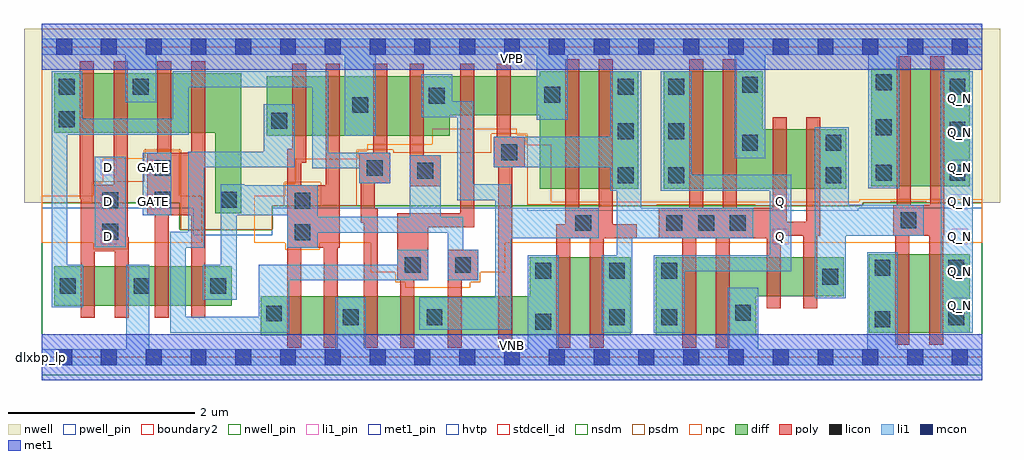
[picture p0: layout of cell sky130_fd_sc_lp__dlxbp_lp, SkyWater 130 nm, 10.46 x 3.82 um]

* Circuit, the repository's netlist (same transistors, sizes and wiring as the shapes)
* Copyright 2020 The SkyWater PDK Authors
*
* Licensed under the Apache License, Version 2.0 (the "License");
* you may not use this file except in compliance with the License.
* You may obtain a copy of the License at
*
*     https://www.apache.org/licenses/LICENSE-2.0
*
* Unless required by applicable law or agreed to in writing, software
* distributed under the License is distributed on an "AS IS" BASIS,
* WITHOUT WARRANTIES OR CONDITIONS OF ANY KIND, either express or implied.
* See the License for the specific language governing permissions and
* limitations under the License.
*
* SPDX-License-Identifier: Apache-2.0

.SUBCKT sky130_fd_sc_lp__dlxbp_lp D GATE VGND VNB VPB VPWR Q Q_N
*.PININFO D:I GATE:I VGND:I VNB:I VPB:I VPWR:I Q:O Q_N:O
MI635 clkpos clkneg net066 VPB sky130_fd_pr__pfet_01v8_hvt m=1 w=0.64U l=0.15U mult=1
+ sa=0.265 sb=0.265 sd=0.28 area=0.063 perim=1.14
MI648 Q_N net79 net042 VPB sky130_fd_pr__pfet_01v8_hvt m=1 w=1.26U l=0.15U mult=1
+ sa=0.265 sb=0.265 sd=0.28 area=0.063 perim=1.14
MI17 M0 clkneg net51 VPB sky130_fd_pr__pfet_01v8_hvt m=1 w=0.64U l=0.15U mult=1
+ sa=0.265 sb=0.265 sd=0.28 area=0.063 perim=1.14
MI29 net053 m1 VPWR VPB sky130_fd_pr__pfet_01v8_hvt m=1 w=1.26U l=0.15U mult=1
+ sa=0.265 sb=0.265 sd=0.28 area=0.063 perim=1.14
MI646 net79 m1 net046 VPB sky130_fd_pr__pfet_01v8_hvt m=1 w=0.64U l=0.15U mult=1
+ sa=0.265 sb=0.265 sd=0.28 area=0.063 perim=1.14
MI650 Q m1 net053 VPB sky130_fd_pr__pfet_01v8_hvt m=1 w=1.26U l=0.15U mult=1 sa=0.265
+ sb=0.265 sd=0.28 area=0.063 perim=1.14
MI633 clkneg GATE net070 VPB sky130_fd_pr__pfet_01v8_hvt m=1 w=0.64U l=0.15U mult=1
+ sa=0.265 sb=0.265 sd=0.28 area=0.063 perim=1.14
MI32 net042 net79 VPWR VPB sky130_fd_pr__pfet_01v8_hvt m=1 w=1.26U l=0.15U mult=1
+ sa=0.265 sb=0.265 sd=0.28 area=0.063 perim=1.14
MI18 net51 db VPWR VPB sky130_fd_pr__pfet_01v8_hvt m=1 w=0.64U l=0.15U mult=1 sa=0.265
+ sb=0.265 sd=0.28 area=0.063 perim=1.14
MI653 net59 m1 VPWR VPB sky130_fd_pr__pfet_01v8_hvt m=1 w=0.42U l=0.15U mult=1
+ sa=0.265 sb=0.265 sd=0.28 area=0.063 perim=1.14
MI651 M0 clkpos net59 VPB sky130_fd_pr__pfet_01v8_hvt m=1 w=0.42U l=0.15U mult=1
+ sa=0.265 sb=0.265 sd=0.28 area=0.063 perim=1.14
MI655 m1 M0 net077 VPB sky130_fd_pr__pfet_01v8_hvt m=1 w=1.26U l=0.15U mult=1 sa=0.265
+ sb=0.265 sd=0.28 area=0.063 perim=1.14
MI638 db D net062 VPB sky130_fd_pr__pfet_01v8_hvt m=1 w=0.64U l=0.15U mult=1 sa=0.265
+ sb=0.265 sd=0.28 area=0.063 perim=1.14
MI31 net046 m1 VPWR VPB sky130_fd_pr__pfet_01v8_hvt m=1 w=0.64U l=0.15U mult=1
+ sa=0.265 sb=0.265 sd=0.28 area=0.063 perim=1.14
MI27 net077 M0 VPWR VPB sky130_fd_pr__pfet_01v8_hvt m=1 w=1.26U l=0.15U mult=1
+ sa=0.265 sb=0.265 sd=0.28 area=0.063 perim=1.14
MI25 net062 D VPWR VPB sky130_fd_pr__pfet_01v8_hvt m=1 w=0.64U l=0.15U mult=1 sa=0.265
+ sb=0.265 sd=0.28 area=0.063 perim=1.14
MI22 net066 clkneg VPWR VPB sky130_fd_pr__pfet_01v8_hvt m=1 w=0.64U l=0.15U mult=1
+ sa=0.265 sb=0.265 sd=0.28 area=0.063 perim=1.14
MI21 net070 GATE VPWR VPB sky130_fd_pr__pfet_01v8_hvt m=1 w=0.64U l=0.15U mult=1
+ sa=0.265 sb=0.265 sd=0.28 area=0.063 perim=1.14
MI634 clkneg GATE net0181 VNB sky130_fd_pr__nfet_01v8 m=1 w=0.42U l=0.15U mult=1
+ sa=0.265 sb=0.265 sd=0.28 area=0.063 perim=1.14
MI647 Q_N net79 net0177 VNB sky130_fd_pr__nfet_01v8 m=1 w=0.84U l=0.15U mult=1
+ sa=0.265 sb=0.265 sd=0.28 area=0.063 perim=1.14
MI649 Q m1 net0125 VNB sky130_fd_pr__nfet_01v8 m=1 w=0.84U l=0.15U mult=1 sa=0.265
+ sb=0.265 sd=0.28 area=0.063 perim=1.14
MI30 net0125 m1 VGND VNB sky130_fd_pr__nfet_01v8 m=1 w=0.84U l=0.15U mult=1 sa=0.265
+ sb=0.265 sd=0.28 area=0.063 perim=1.14
MI645 net79 m1 net0173 VNB sky130_fd_pr__nfet_01v8 m=1 w=0.42U l=0.15U mult=1 sa=0.265
+ sb=0.265 sd=0.28 area=0.063 perim=1.14
MI28 net0161 M0 VGND VNB sky130_fd_pr__nfet_01v8 m=1 w=0.84U l=0.15U mult=1 sa=0.265
+ sb=0.265 sd=0.28 area=0.063 perim=1.14
MI652 M0 clkneg net102 VNB sky130_fd_pr__nfet_01v8 m=1 w=0.42U l=0.15U mult=1 sa=0.265
+ sb=0.265 sd=0.28 area=0.063 perim=1.14
MI654 net102 m1 VGND VNB sky130_fd_pr__nfet_01v8 m=1 w=0.42U l=0.15U mult=1 sa=0.265
+ sb=0.265 sd=0.28 area=0.063 perim=1.14
MI656 m1 M0 net0161 VNB sky130_fd_pr__nfet_01v8 m=1 w=0.84U l=0.15U mult=1 sa=0.265
+ sb=0.265 sd=0.28 area=0.063 perim=1.14
MI26 net0153 D VGND VNB sky130_fd_pr__nfet_01v8 m=1 w=0.42U l=0.15U mult=1 sa=0.265
+ sb=0.265 sd=0.28 area=0.063 perim=1.14
MI636 clkpos clkneg net0157 VNB sky130_fd_pr__nfet_01v8 m=1 w=0.42U l=0.15U mult=1
+ sa=0.265 sb=0.265 sd=0.28 area=0.063 perim=1.14
MI637 db D net0153 VNB sky130_fd_pr__nfet_01v8 m=1 w=0.42U l=0.15U mult=1 sa=0.265
+ sb=0.265 sd=0.28 area=0.063 perim=1.14
MI19 M0 clkpos net98 VNB sky130_fd_pr__nfet_01v8 m=1 w=0.42U l=0.15U mult=1 sa=0.265
+ sb=0.265 sd=0.28 area=0.063 perim=1.14
MI20 net98 db VGND VNB sky130_fd_pr__nfet_01v8 m=1 w=0.42U l=0.15U mult=1 sa=0.265
+ sb=0.265 sd=0.28 area=0.063 perim=1.14
MI34 net0177 net79 VGND VNB sky130_fd_pr__nfet_01v8 m=1 w=0.84U l=0.15U mult=1
+ sa=0.265 sb=0.265 sd=0.28 area=0.063 perim=1.14
MI33 net0173 m1 VGND VNB sky130_fd_pr__nfet_01v8 m=1 w=0.42U l=0.15U mult=1 sa=0.265
+ sb=0.265 sd=0.28 area=0.063 perim=1.14
MI24 net0157 clkneg VGND VNB sky130_fd_pr__nfet_01v8 m=1 w=0.42U l=0.15U mult=1
+ sa=0.265 sb=0.265 sd=0.28 area=0.063 perim=1.14
MI23 net0181 GATE VGND VNB sky130_fd_pr__nfet_01v8 m=1 w=0.42U l=0.15U mult=1 sa=0.265
+ sb=0.265 sd=0.28 area=0.063 perim=1.14
.ENDS sky130_fd_sc_lp__dlxbp_lp

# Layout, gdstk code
import gdstk
lib = gdstk.Library(unit=1e-6, precision=1e-09)
def R(c, l, rs):  # rectangles x0, y0, x1, y1
    for r in rs: c.add(gdstk.rectangle(r[:2], r[2:], *l))
def A(c, l, x, y, w, h, nx, ny, dx, dy):  # array of equal rectangles
    R(c, l, [(x+i*dx, y+j*dy, x+i*dx+w, y+j*dy+h) for i in range(nx) for j in range(ny)])
def P(c, l, *ps):  # polygons
    for p in ps: c.add(gdstk.Polygon(p, *l))
nwell_pin = (64, 16)
nwell = (64, 20)
diff = (65, 20)
poly = (66, 20)
licon = (66, 44)
li1_pin = (67, 16)
li1 = (67, 20)
mcon = (67, 44)
met1_pin = (68, 16)
met1 = (68, 20)
hvtp = (78, 44)
stdcell_id = (81, 4)
nsdm = (93, 44)
psdm = (94, 20)
npc = (95, 20)
pwell_pin = (122, 16)
boundary2 = (236, 0)

sky130_fd_sc_lp__dlxbp_l = lib.new_cell('sky130_fd_sc_lp__dlxbp_lp')
R(sky130_fd_sc_lp__dlxbp_l, nwell_pin, [(0,3.085,10.08,3.33)])
P(sky130_fd_sc_lp__dlxbp_l, nwell, [(10.27,3.52),(-0.19,3.52),(-0.19,1.655),(1.48,1.655),(1.48,1.365),(2.47,1.365),(2.47,1.625),(8.8,1.625),(8.8,1.655),(10.27,1.655)])
R(sky130_fd_sc_lp__dlxbp_l, diff, [(8.865,0.265,9.945,1.105), (0.135,0.555,2.035,0.975), (8.89,1.835,9.945,3.095)])
P(sky130_fd_sc_lp__dlxbp_l, diff, [(2.14,3.045),(0.135,3.045),(0.135,2.405),(1.86,2.405),(1.86,1.545),(2.14,1.545)],
  [(6.31,1.075),(5.23,1.075),(5.23,0.655),(2.345,0.655),(2.345,0.235),(6.31,0.235)],
  [(6.395,3.065),(5.335,3.065),(5.335,3.015),(2.41,3.015),(2.41,2.375),(4.375,2.375),(4.375,2.595),(5.335,2.595),(5.335,1.805),(6.395,1.805)],
  [(8.595,1.075),(6.58,1.075),(6.58,0.235),(7.66,0.235),(7.66,0.655),(8.595,0.655)],
  [(8.62,2.445),(7.725,2.445),(7.725,3.065),(6.665,3.065),(6.665,1.805),(8.62,1.805)])
P(sky130_fd_sc_lp__dlxbp_l, poly, [(0.93,1.285),(0.92,1.285),(0.92,3.175),(0.77,3.175),(0.77,1.85),(0.56,1.85),(0.56,3.175),(0.41,3.175),(0.41,1.7),(0.42,1.7),(0.42,0.425),(0.57,0.425),(0.57,1.135),(0.78,1.135),(0.78,0.425),(0.93,0.425)],
  [(1.75,3.175),(1.6,3.175),(1.6,2.195),(1.39,2.195),(1.39,3.175),(1.24,3.175),(1.24,2.195),(1.13,2.195),(1.13,1.525),(1.21,1.525),(1.21,0.425),(1.36,0.425),(1.36,1.525),(1.6,1.525),(1.6,0.425),(1.75,0.425)],
  [(3.195,3.145),(3.045,3.145),(3.045,1.845),(2.78,1.845),(2.78,2.085),(2.835,2.085),(2.835,3.145),(2.685,3.145),(2.685,2.235),(2.63,2.235),(2.63,0.105),(2.78,0.105),(2.78,1.175),(3.02,1.175),(3.02,0.105),(3.17,0.105),(3.17,1.175),(3.195,1.175)],
  [(3.735,2.195),(3.705,2.195),(3.705,3.145),(3.555,3.145),(3.555,2.195),(3.405,2.195),(3.405,1.865),(3.42,1.865),(3.42,1.445),(3.45,1.445),(3.45,0.105),(3.6,0.105),(3.6,1.595),(3.57,1.595),(3.57,1.865),(3.735,1.865)],
  [(4.275,2.165),(4.095,2.165),(4.095,3.145),(3.945,3.145),(3.945,1.835),(4.275,1.835)],
  [(4.635,3.145),(4.485,3.145),(4.485,1.545),(3.81,1.545),(3.81,0.825),(3.84,0.825),(3.84,0.105),(3.99,0.105),(3.99,0.825),(4.14,0.825),(4.14,1.395),(4.635,1.395)],
  [(4.68,1.155),(4.35,1.155),(4.35,0.105),(4.5,0.105),(4.5,0.825),(4.68,0.825)],
  [(5.175,2.365),(5.025,2.365),(5.025,3.145),(4.875,3.145),(4.875,2.365),(4.845,2.365),(4.845,2.035),(4.89,2.035),(4.89,0.105),(5.04,0.105),(5.04,2.035),(5.175,2.035)],
  [(6.375,1.425),(6.12,1.425),(6.12,3.195),(5.97,3.195),(5.97,1.605),(5.76,1.605),(5.76,3.195),(5.61,3.195),(5.61,1.425),(5.515,1.425),(5.515,0.105),(5.665,0.105),(5.665,1.275),(5.875,1.275),(5.875,0.105),(6.025,0.105),(6.025,1.275),(6.375,1.275)],
  [(8.345,2.575),(8.195,2.575),(8.195,1.455),(7.985,1.455),(7.985,2.575),(7.835,2.575),(7.835,1.605),(7.45,1.605),(7.45,3.195),(7.3,3.195),(7.3,1.605),(7.09,1.605),(7.09,3.195),(6.94,3.195),(6.94,1.605),(6.615,1.605),(6.615,1.275),(6.865,1.275),(6.865,0.105),(7.015,0.105),(7.015,1.275),(7.225,1.275),(7.225,0.105),(7.375,0.105),(7.375,1.275),(7.77,1.275),(7.77,0.525),(7.92,0.525),(7.92,1.305),(8.16,1.305),(8.16,0.525),(8.31,0.525),(8.31,1.305),(8.345,1.305)],
  [(9.675,3.225),(9.525,3.225),(9.525,1.635),(9.315,1.635),(9.315,3.225),(9.165,3.225),(9.165,1.635),(9.125,1.635),(9.125,1.305),(9.15,1.305),(9.15,0.135),(9.3,0.135),(9.3,1.305),(9.51,1.305),(9.51,0.135),(9.66,0.135),(9.66,1.305),(9.675,1.305)])
A(sky130_fd_sc_lp__dlxbp_l, licon, 6.695, 1.355, 0.17, 0.17, 3, 1, 0.34, 0)
A(sky130_fd_sc_lp__dlxbp_l, licon, 6.175, 1.865, 0.17, 0.17, 1, 3, 0, 0.475)
A(sky130_fd_sc_lp__dlxbp_l, licon, 6.715, 1.865, 0.17, 0.17, 1, 3, 0, 0.475)
A(sky130_fd_sc_lp__dlxbp_l, licon, 8.94, 1.895, 0.17, 0.17, 1, 3, 0, 0.485)
A(sky130_fd_sc_lp__dlxbp_l, licon, 9.73, 1.895, 0.17, 0.17, 1, 3, 0, 0.46)
R(sky130_fd_sc_lp__dlxbp_l, licon, [(5.29,0.295,5.46,0.465), (8.925,0.325,9.095,0.495), (3.225,0.345,3.395,0.515), (4.125,0.345,4.295,0.515), (6.08,0.345,6.25,0.515), (6.64,0.345,6.81,0.515), (9.715,0.345,9.885,0.515), (2.405,0.385,2.575,0.555), (7.43,0.395,7.6,0.565), (0.195,0.68,0.365,0.85), (0.985,0.68,1.155,0.85), (1.805,0.68,1.975,0.85), (8.365,0.78,8.535,0.95), (5.29,0.845,5.46,1.015), (6.08,0.845,6.25,1.015), (6.64,0.845,6.81,1.015), (8.925,0.875,9.095,1.045), (9.715,0.875,9.885,1.045), (3.89,0.905,4.06,1.075), (4.43,0.905,4.6,1.075), (2.71,1.255,2.88,1.425), (0.65,1.26,0.82,1.43), (5.72,1.355,5.89,1.525), (9.205,1.385,9.375,1.555), (2.71,1.595,2.88,1.765), (0.65,1.6,0.82,1.77), (1.21,1.605,1.38,1.775), (1.92,1.605,2.09,1.775), (8.4,1.865,8.57,2.035), (4.025,1.915,4.195,2.085), (1.21,1.945,1.38,2.115), (3.485,1.945,3.655,2.115), (4.925,2.115,5.095,2.285), (7.505,2.215,7.675,2.385), (8.4,2.215,8.57,2.385), (2.46,2.45,2.63,2.62), (0.185,2.465,0.355,2.635), (3.33,2.62,3.5,2.79), (4.15,2.72,4.32,2.89), (5.385,2.73,5.555,2.9), (0.185,2.815,0.355,2.985), (0.975,2.815,1.145,2.985), (7.505,2.835,7.675,3.005)])
A(sky130_fd_sc_lp__dlxbp_l, li1_pin, 9.755, 0.47, 0.17, 0.17, 1, 7, 0, 0.37)
A(sky130_fd_sc_lp__dlxbp_l, li1_pin, 0.635, 1.21, 0.17, 0.17, 1, 3, 0, 0.37)
R(sky130_fd_sc_lp__dlxbp_l, li1_pin, [(7.835,1.21,8.005,1.38), (1.115,1.58,1.285,1.75), (7.835,1.58,8.005,1.75), (1.115,1.95,1.285,2.12)])
R(sky130_fd_sc_lp__dlxbp_l, li1, [(9.635,0.265,9.98,3.065), (0.57,1.18,0.9,2.15), (1.085,1.525,1.39,2.195)])
P(sky130_fd_sc_lp__dlxbp_l, li1, [(3.735,2.195),(3.07,2.195),(3.07,3.065),(1.405,3.065),(1.405,2.555),(0.435,2.555),(0.435,3.065),(0.105,3.065),(0.105,0.535),(0.445,0.535),(0.445,0.995),(0.275,0.995),(0.275,2.385),(1.575,2.385),(1.575,2.895),(2.9,2.895),(2.9,2.025),(3.405,2.025),(3.405,1.865),(3.735,1.865)],
  [(4.14,1.155),(3.81,1.155),(3.81,0.995),(2.325,0.995),(2.325,0.435),(1.545,0.435),(1.545,1.175),(1.74,1.175),(1.74,2.035),(2.71,2.035),(2.71,2.715),(2.38,2.715),(2.38,2.205),(1.57,2.205),(1.57,1.345),(1.375,1.345),(1.375,0.265),(2.655,0.265),(2.655,0.825),(4.14,0.825)],
  [(4.68,1.155),(4.52,1.155),(4.52,1.505),(4.275,1.505),(4.275,2.165),(3.945,2.165),(3.945,1.505),(2.96,1.505),(2.96,1.845),(2.17,1.845),(2.17,1.855),(1.92,1.855),(1.92,0.995),(1.725,0.995),(1.725,0.615),(2.09,0.615),(2.09,1.525),(2.63,1.525),(2.63,1.175),(2.96,1.175),(2.96,1.335),(4.35,1.335),(4.35,0.825),(4.68,0.825)],
  [(5.97,1.605),(5.03,1.605),(5.03,1.855),(4.625,1.855),(4.625,2.745),(4.4,2.745),(4.4,3.035),(4.07,3.035),(4.07,2.575),(4.455,2.575),(4.455,1.685),(4.86,1.685),(4.86,0.645),(4.045,0.645),(4.045,0.295),(5.03,0.295),(5.03,1.275),(5.97,1.275)],
  [(7.625,1.605),(6.425,1.605),(6.425,3.065),(6.095,3.065),(6.095,2.365),(4.845,2.365),(4.845,2.035),(6.095,2.035),(6.095,1.785),(6.16,1.785),(6.16,1.095),(6,1.095),(6,0.265),(6.33,0.265),(6.33,1.275),(7.625,1.275)],
  [(8.035,1.955),(6.965,1.955),(6.965,3.065),(6.635,3.065),(6.635,1.785),(7.805,1.785),(7.805,1.095),(6.56,1.095),(6.56,0.265),(6.89,0.265),(6.89,0.925),(8.035,0.925)],
  [(9.455,1.635),(8.65,1.635),(8.65,2.465),(8.285,2.465),(8.285,0.635),(8.615,0.635),(8.615,1.305),(9.455,1.305)],
  [(10.08,3.415),(0,3.415),(0,3.245),(0.895,3.245),(0.895,2.735),(1.225,2.735),(1.225,3.245),(3.25,3.245),(3.25,2.375),(3.58,2.375),(3.58,3.245),(5.305,3.245),(5.305,2.545),(5.635,2.545),(5.635,3.245),(7.425,3.245),(7.425,2.135),(7.755,2.135),(7.755,3.245),(8.86,3.245),(8.86,1.815),(9.19,1.815),(9.19,3.245),(10.08,3.245)],
  [(10.08,0.085),(9.175,0.085),(9.175,1.125),(8.845,1.125),(8.845,0.085),(7.68,0.085),(7.68,0.745),(7.35,0.745),(7.35,0.085),(5.54,0.085),(5.54,1.095),(5.21,1.095),(5.21,0.085),(3.475,0.085),(3.475,0.645),(3.145,0.645),(3.145,0.085),(1.155,0.085),(1.155,0.995),(0.905,0.995),(0.905,0.085),(0,0.085),(0,-0.085),(10.08,-0.085)])
A(sky130_fd_sc_lp__dlxbp_l, mcon, 0.155, -0.085, 0.17, 0.17, 21, 2, 0.48, 3.33)
R(sky130_fd_sc_lp__dlxbp_l, met1_pin, [(0,0,10.08,0.245), (0,3.085,10.08,3.33)])
R(sky130_fd_sc_lp__dlxbp_l, met1, [(0,-0.245,10.08,0.245), (0,3.085,10.08,3.575)])
P(sky130_fd_sc_lp__dlxbp_l, hvtp, [(10.08,3.33),(0,3.33),(0,1.6),(1.625,1.6),(1.625,1.31),(2.47,1.31),(2.47,1.6),(5.205,1.6),(5.205,1.57),(8.75,1.57),(8.75,1.6),(10.08,1.6)])
R(sky130_fd_sc_lp__dlxbp_l, stdcell_id, [(0,0,10.08,3.33)])
P(sky130_fd_sc_lp__dlxbp_l, nsdm, [(10.08,1.655),(8.8,1.655),(8.8,1.625),(2.47,1.625),(2.47,1.365),(1.48,1.365),(1.48,1.655),(0,1.655),(0,-0.19),(10.08,-0.19)])
P(sky130_fd_sc_lp__dlxbp_l, psdm, [(10.08,3.52),(0,3.52),(0,1.655),(0.54,1.655),(0.54,1.88),(1.1,1.88),(1.1,2.225),(1.49,2.225),(1.49,1.365),(2.47,1.365),(2.47,1.625),(2.6,1.625),(2.6,1.875),(2.99,1.875),(2.99,1.625),(3.375,1.625),(3.375,2.225),(3.765,2.225),(3.765,2.195),(4.815,2.195),(4.815,2.395),(5.205,2.395),(5.205,1.635),(6,1.635),(6,1.625),(6.585,1.625),(6.585,1.635),(7.655,1.635),(7.655,1.625),(8.8,1.625),(8.8,1.655),(9.095,1.655),(9.095,1.665),(9.485,1.665),(9.485,1.655),(10.08,1.655)])
P(sky130_fd_sc_lp__dlxbp_l, npc, [(1.72,1.73),(1.48,1.73),(1.48,2.215),(1.11,2.215),(1.11,2.135),(0.655,2.135),(0.655,1.87),(0.55,1.87),(0.55,1.73),(0,1.73),(0,1.23),(0.55,1.23),(0.55,1.16),(0.92,1.16),(0.92,1.23),(1.72,1.23)],
  [(10.08,1.695),(8.76,1.695),(8.76,1.665),(5.46,1.665),(5.46,2.28),(5.195,2.28),(5.195,2.385),(5.09,2.385),(5.09,2.45),(4.185,2.45),(4.185,2.285),(3.49,2.285),(3.49,2.215),(3.385,2.215),(3.385,2.13),(2.715,2.13),(2.715,1.865),(2.61,1.865),(2.61,1.73),(2.28,1.73),(2.28,1.23),(2.61,1.23),(2.61,1.155),(2.98,1.155),(2.98,1.23),(3.525,1.23),(3.525,0.91),(3.79,0.91),(3.79,0.805),(3.895,0.805),(3.895,0.745),(4.595,0.745),(4.595,0.805),(4.7,0.805),(4.7,0.91),(4.965,0.91),(4.965,1.23),(10.08,1.23)])
R(sky130_fd_sc_lp__dlxbp_l, pwell_pin, [(0,0,10.08,0.245)])
R(sky130_fd_sc_lp__dlxbp_l, boundary2, [(0,0,10.08,3.33)])
sky130_fd_sc_lp__dlxbp_l.add(gdstk.Label('VNB', (5.04,0.123), layer=64, texttype=59))
sky130_fd_sc_lp__dlxbp_l.add(gdstk.Label('VPB', (5.04,3.208), layer=64, texttype=5))
sky130_fd_sc_lp__dlxbp_l.add(gdstk.Label('dlxbp_lp', (0,0), layer=83, texttype=44))
sky130_fd_sc_lp__dlxbp_l.add(gdstk.Label('VPWR', (5.04,3.208), layer=68, texttype=5))
sky130_fd_sc_lp__dlxbp_l.add(gdstk.Label('VGND', (5.04,0.123), layer=68, texttype=5))
sky130_fd_sc_lp__dlxbp_l.add(gdstk.Label('GATE', (1.2,1.665), layer=67, texttype=5))
sky130_fd_sc_lp__dlxbp_l.add(gdstk.Label('GATE', (1.2,2.035), layer=67, texttype=5))
sky130_fd_sc_lp__dlxbp_l.add(gdstk.Label('D', (0.72,1.295), layer=67, texttype=5))
sky130_fd_sc_lp__dlxbp_l.add(gdstk.Label('D', (0.72,1.665), layer=67, texttype=5))
sky130_fd_sc_lp__dlxbp_l.add(gdstk.Label('D', (0.72,2.035), layer=67, texttype=5))
sky130_fd_sc_lp__dlxbp_l.add(gdstk.Label('Q_N', (9.84,0.555), layer=67, texttype=5))
sky130_fd_sc_lp__dlxbp_l.add(gdstk.Label('Q_N', (9.84,0.925), layer=67, texttype=5))
sky130_fd_sc_lp__dlxbp_l.add(gdstk.Label('Q_N', (9.84,1.295), layer=67, texttype=5))
sky130_fd_sc_lp__dlxbp_l.add(gdstk.Label('Q_N', (9.84,1.665), layer=67, texttype=5))
sky130_fd_sc_lp__dlxbp_l.add(gdstk.Label('Q_N', (9.84,2.035), layer=67, texttype=5))
sky130_fd_sc_lp__dlxbp_l.add(gdstk.Label('Q_N', (9.84,2.405), layer=67, texttype=5))
sky130_fd_sc_lp__dlxbp_l.add(gdstk.Label('Q_N', (9.84,2.775), layer=67, texttype=5))
sky130_fd_sc_lp__dlxbp_l.add(gdstk.Label('Q', (7.92,1.295), layer=67, texttype=5))
sky130_fd_sc_lp__dlxbp_l.add(gdstk.Label('Q', (7.92,1.665), layer=67, texttype=5))

lib.write_gds('sky130_fd_sc_lp__dlxbp_lp.gds')
